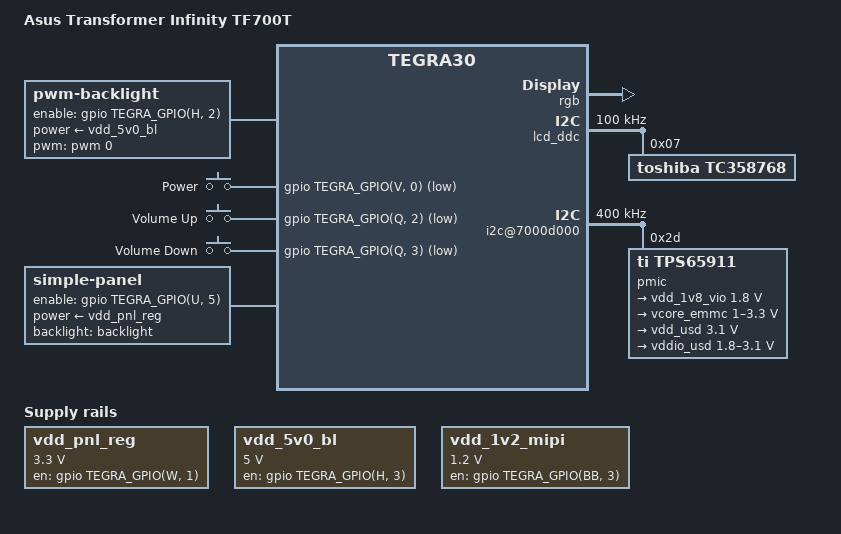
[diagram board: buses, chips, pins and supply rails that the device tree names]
// SPDX-License-Identifier: GPL-2.0-or-later
/dts-v1/;

#include <dt-bindings/input/gpio-keys.h>
#include <dt-bindings/input/linux-event-codes.h>

#include "tegra30-asus-transformer.dtsi"

/ {
	model = "Asus Transformer Infinity TF700T";

	host1x@50000000 {
		status = "okay";
		dc@54200000 {
			status = "okay";
			rgb {
				status = "okay";

				nvidia,panel = <&panel>;

				display-timings {
					timing@0 {
						/* 1920x1200@60Hz */
						clock-frequency = <154000000>;
						hactive = <1920>;
						vactive = <1200>;
						hfront-porch = <48>;
						hback-porch = <80>;
						hsync-len = <32>;
						vsync-len = <6>;
						vfront-porch = <3>;
						vback-porch = <26>;
					};
				};
			};
		};
	};

	lcd_ddc: i2c@7000c000 {
		status = "okay";
		clock-frequency = <100000>;

		tc358768: dsi@7 {
			compatible = "toshiba,tc358768";
			reg = <0x7>;
		};
	};

	i2c@7000d000 {
		status = "okay";
		clock-frequency = <400000>;

		/* Texas Instruments TPS659110 PMIC */
		pmic: tps65911@2d {
			compatible = "ti,tps65911";
			reg = <0x2d>;

			interrupts = <GIC_SPI 86 IRQ_TYPE_LEVEL_HIGH>;
			#interrupt-cells = <2>;
			interrupt-controller;

			ti,system-power-controller;

			#gpio-cells = <2>;
			gpio-controller;

			regulators {
				vdd_1v8_vio: vio {
					regulator-name = "vdd_1v8_gen";
					regulator-min-microvolt = <1800000>;
					regulator-max-microvolt = <1800000>;
					regulator-always-on;
					regulator-boot-on;
				};

				/* eMMC VDD */
				vcore_emmc: ldo1 {
					regulator-name = "vdd_emmc_core";
					regulator-min-microvolt = <1000000>;
					regulator-max-microvolt = <3300000>;
					regulator-always-on;
				};

				/* uSD slot VDD */
				vdd_usd: ldo2 {
					regulator-name = "vdd_usd";
					regulator-min-microvolt = <3100000>;
					regulator-max-microvolt = <3100000>;
					regulator-always-on;
				};

				/* uSD slot VDDIO */
				vddio_usd: ldo3 {
					regulator-name = "vddio_usd";
					regulator-min-microvolt = <1800000>;
					regulator-max-microvolt = <3100000>;
				};
			};
		};
	};

	backlight: backlight {
		compatible = "pwm-backlight";

		enable-gpios = <&gpio TEGRA_GPIO(H, 2) GPIO_ACTIVE_HIGH>;
		power-supply = <&vdd_5v0_bl>;
		pwms = <&pwm 0 4000000>;

		brightness-levels = <0 4 8 16 32 64 128 255>;
		default-brightness-level = <6>;
	};

	gpio-keyboard {
		compatible = "gpio-keys-input";

		power {
			label = "Power";
			gpios = <&gpio TEGRA_GPIO(V, 0) GPIO_ACTIVE_LOW>;
			linux,code = <KEY_ENTER>;
		};

		volume-up {
			label = "Volume Up";
			gpios = <&gpio TEGRA_GPIO(Q, 2) GPIO_ACTIVE_LOW>;
			linux,code = <KEY_UP>;
		};

		volume-down {
			label = "Volume Down";
			gpios = <&gpio TEGRA_GPIO(Q, 3) GPIO_ACTIVE_LOW>;
			linux,code = <KEY_DOWN>;
		};
	};

	panel: panel {
		compatible = "simple-panel";

		power-supply = <&vdd_pnl_reg>;
		enable-gpios = <&gpio TEGRA_GPIO(U, 5) GPIO_ACTIVE_HIGH>;

		backlight = <&backlight>;
	};

	regulators {
		compatible = "simple-bus";
		#address-cells = <1>;
		#size-cells = <0>;

		vdd_pnl_reg: regulator@0 {
			compatible = "regulator-fixed";
			reg = <0>;
			regulator-name = "vdd_panel";
			regulator-min-microvolt = <3300000>;
			regulator-max-microvolt = <3300000>;
			gpio = <&gpio TEGRA_GPIO(W, 1) GPIO_ACTIVE_HIGH>;
			enable-active-high;
		};

		vdd_5v0_bl: regulator@1 {
			compatible = "regulator-fixed";
			reg = <1>;
			regulator-name = "vdd_5v0_bl";
			regulator-min-microvolt = <5000000>;
			regulator-max-microvolt = <5000000>;
			regulator-boot-on;
			gpio = <&gpio TEGRA_GPIO(H, 3) GPIO_ACTIVE_HIGH>;
			enable-active-high;
		};

		vdd_1v2_mipi: regulator@2 {
			compatible = "regulator-fixed";
			reg = <2>;
			regulator-name = "tc358768_1v2_vdd";
			regulator-min-microvolt = <1200000>;
			regulator-max-microvolt = <1200000>;
			regulator-enable-ramp-delay = <10000>;
			regulator-boot-on;
			gpio = <&gpio TEGRA_GPIO(BB, 3) GPIO_ACTIVE_HIGH>;
			enable-active-high;
		};
	};
};
